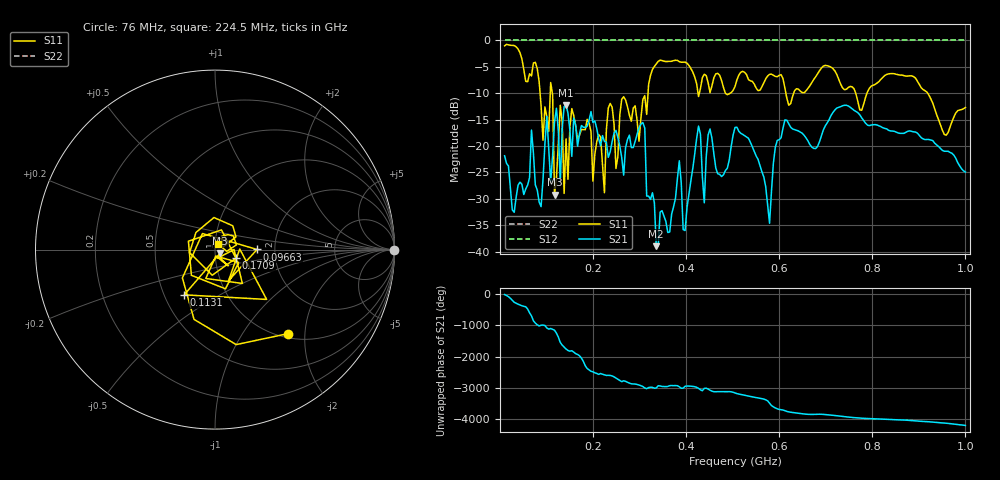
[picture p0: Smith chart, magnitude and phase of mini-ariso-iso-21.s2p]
! Anritsu VNA Master:  Model: MS2024B
! SN:  2417009
! /card0/usr/mini-ariso-iso-21.s2p
! Existing Calibration Information:
! TYPE:  Current Settings,  Active Cal Settings
! TIME:  09/04/2026 04:36:45 AM,  09/04/2026 04:35:19 AM
! INTERNAL TEMP:  52.5 C,  52.5 C
! # POINTS:  241,  241
! START FREQ:  10.000 MHz,  10.000 MHz
! STOP FREQ:  1.000 GHz,  1.000 GHz
! SOURCE POWER:  Default,  Default
! IFBW:  1 kHz,  1 kHz
! AVG FACTOR:  16 ,  16
! REF PLANE 1:  0 mm,  0 mm
! REF PLANE 2:  0 mm,  0 mm
! CAL TYPE:  1P2P S11,S21,  1P2P S11,S21
! CAL METHOD:  SOLT,  SOLT
! CAL LINE TYPE:  Coax,  Coax
! DUT PORT 1:  N-Conn(M),  N-Conn(M)
! DUT PORT 2:  N-Conn(M),  N-Conn(M)
! CAL STATUS:  OK: Accuracy High,  --
# GHZ S DB R 50.0
! FREQ.GHZ  S11DB  S11A  S21DB  S21A  S12DB  S12A  S22DB  S22A
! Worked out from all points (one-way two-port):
!   241 points, 10 MHz to 1 GHz, reference 50 ohm
!   highest |S21| = -12.28 dB at 142 MHz (marker M1); lowest = -39.0 dB at 335.9 MHz (marker M2)
!   lowest |S11| = -29.2 dB at 117.2 MHz (marker M3), VSWR 1.07, Z = 52.8 - j2.14 ohm
!   |S11| at or under -10 dB: 112.6 MHz to 318.2 MHz (205.6 MHz wide, 95.5 % of centre); 764.3 MHz to 788.6 MHz (24.26 MHz wide, 3.12 % of centre); 918.9 MHz to end of sweep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
!   |S22| runs from 0.0 to 0.0 dB; largest |S21 - S12| = 1.2
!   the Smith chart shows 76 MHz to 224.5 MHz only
!   S11 on the Smith chart (normalised r, x): 76 MHz: 1.08, -1.64; 96.62 MHz: 1.61, +0.00; 113.1 MHz: 0.63, -0.35; 170.9 MHz: 1.26, -0.12; 224.5 MHz: 1.03, +0.07
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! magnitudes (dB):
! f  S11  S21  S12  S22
! 10 MHz  -1.0  -21.9  0.0  0.0
! 76 MHz  -4.1  -27.4  0.0  0.0
! 96.62 MHz  -12.6  -19.6  0.0  0.0
! 113.1 MHz  -10.3  -21.8  0.0  0.0
! 117.2 MHz  -29.2  -15.4  0.0  0.0
! 129.6 MHz  -12.3  -27.0  0.0  0.0
! 137.9 MHz  -29.0  -12.6  0.0  0.0
! 142 MHz  -18.7  -12.3  0.0  0.0
! 170.9 MHz  -18.0  -17.8  0.0  0.0
! 175 MHz  -16.9  -16.1  0.0  0.0
! 224.5 MHz  -28.9  -19.1  0.0  0.0
! 232.8 MHz  -12.8  -22.1  0.0  0.0
! 249.2 MHz  -24.3  -17.0  0.0  0.0
! 307 MHz  -11.2  -15.6  0.0  0.0
! 335.9 MHz  -4.4  -39.0  0.0  0.0
! 340 MHz  -4.0  -39.0  0.0  0.0
! 505 MHz  -8.7  -16.5  0.0  0.0
! 579.2 MHz  -6.4  -34.6  0.0  0.0
! 612.2 MHz  -9.0  -15.1  0.0  0.0
! 670 MHz  -8.0  -20.2  0.0  0.0
! 835 MHz  -6.3  -17.0  0.0  0.0
! 1 GHz  -12.7  -24.9  0.0  0.0
